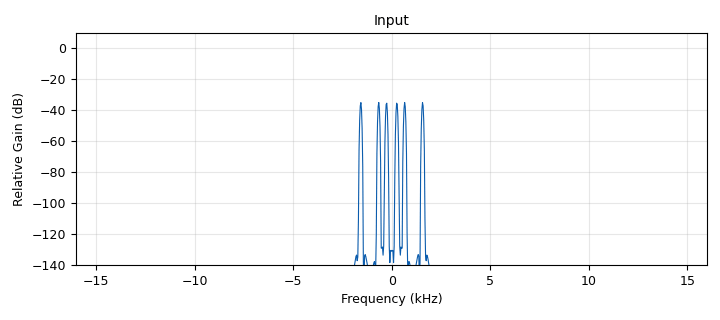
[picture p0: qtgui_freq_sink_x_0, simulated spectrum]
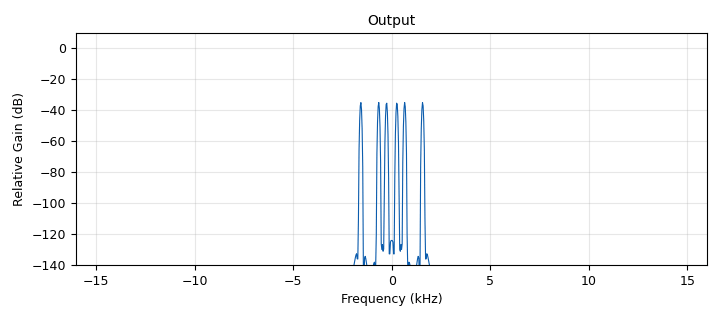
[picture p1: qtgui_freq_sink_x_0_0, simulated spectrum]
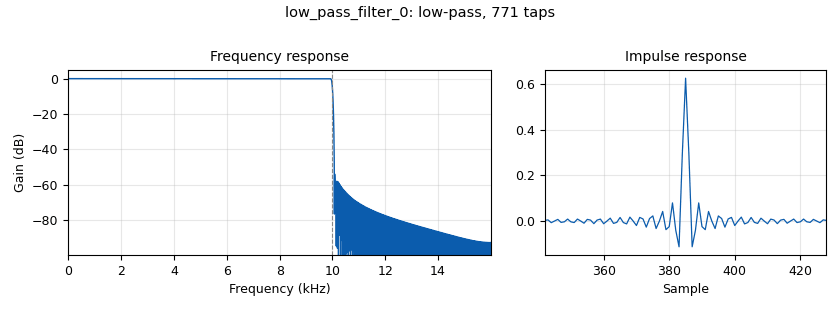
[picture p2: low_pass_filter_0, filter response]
options:
  parameters:
    generate_options: qt_gui
    id: top_block
    output_language: python
    title: Not titled yet
  states: {}

blocks:
- name: cutoff
  id: variable_qtgui_entry
  parameters:
    type: real
    value: 10e3
  states: {}
- name: samp_rate
  id: variable
  parameters:
    value: '32000'
  states: {}
- name: transition_width
  id: variable_qtgui_entry
  parameters:
    type: real
    value: '100'
  states: {}
- name: analog_sig_source_x_0
  id: analog_sig_source_x
  parameters:
    amp: '0.1'
    freq: '261.9'
    offset: '0'
    phase: '0'
    samp_rate: samp_rate
    type: float
    waveform: analog.GR_COS_WAVE
  states: {}
- name: analog_sig_source_x_0_0
  id: analog_sig_source_x
  parameters:
    amp: '0.1'
    freq: '659.2'
    offset: '0'
    phase: '0'
    samp_rate: samp_rate
    type: float
    waveform: analog.GR_COS_WAVE
  states: {}
- name: analog_sig_source_x_0_0_0
  id: analog_sig_source_x
  parameters:
    amp: '0.1'
    freq: '1568'
    offset: '0'
    phase: '0'
    samp_rate: samp_rate
    type: float
    waveform: analog.GR_COS_WAVE
  states: {}
- name: audio_sink_0
  id: audio_sink
  parameters:
    samp_rate: samp_rate
  states: {}
- name: blocks_add_xx_0
  id: blocks_add_xx
  parameters:
    num_inputs: '3'
    type: float
  states: {}
- name: low_pass_filter_0
  id: low_pass_filter
  parameters:
    cutoff_freq: cutoff
    decim: '1'
    gain: '1'
    samp_rate: samp_rate
    type: fir_filter_fff
    width: transition_width
    win: firdes.WIN_HAMMING
  states: {}
- name: qtgui_freq_sink_x_0
  id: qtgui_freq_sink_x
  parameters:
    bw: samp_rate
    fc: '0'
    fftsize: '1024'
    name: Input
    type: float
    wintype: firdes.WIN_BLACKMAN_hARRIS
  states: {}
- name: qtgui_freq_sink_x_0_0
  id: qtgui_freq_sink_x
  parameters:
    bw: samp_rate
    fc: '0'
    fftsize: '1024'
    name: Output
    type: float
    wintype: firdes.WIN_BLACKMAN_hARRIS
  states: {}

connections:
- [analog_sig_source_x_0, '0', blocks_add_xx_0, '0']
- [analog_sig_source_x_0_0, '0', blocks_add_xx_0, '1']
- [analog_sig_source_x_0_0_0, '0', blocks_add_xx_0, '2']
- [blocks_add_xx_0, '0', low_pass_filter_0, '0']
- [blocks_add_xx_0, '0', qtgui_freq_sink_x_0, '0']
- [low_pass_filter_0, '0', audio_sink_0, '0']
- [low_pass_filter_0, '0', qtgui_freq_sink_x_0_0, '0']

metadata:
  file_format: 1
